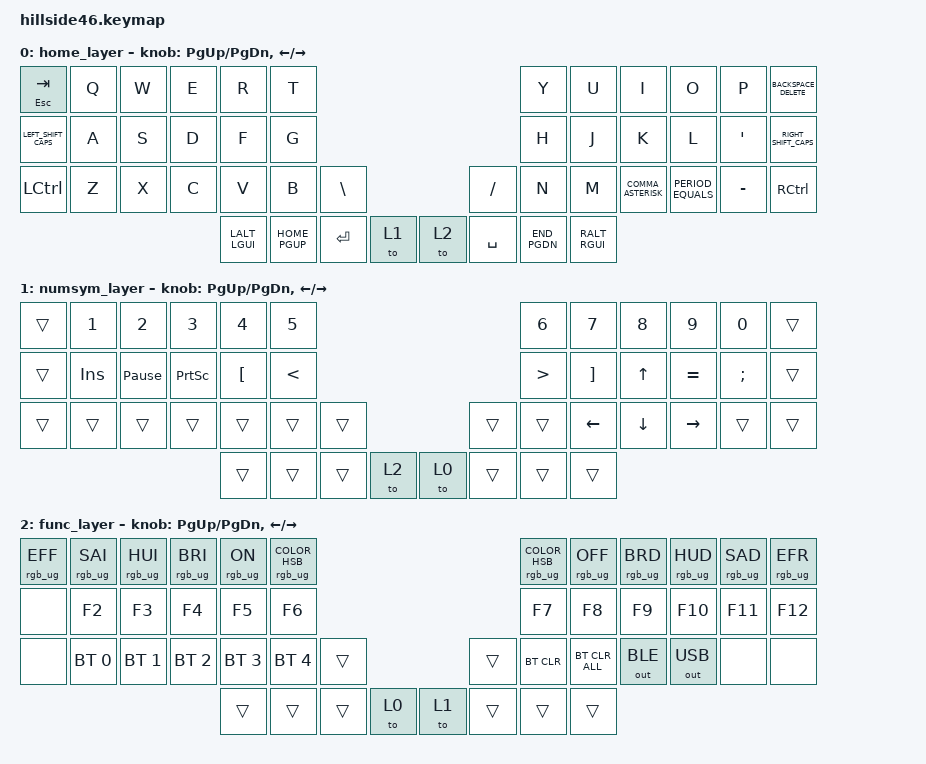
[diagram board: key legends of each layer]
/*
 * Copyright (c) 2021-2022 The ZMK Contributors
 *
 * SPDX-License-Identifier: MIT
 */

#include <behaviors.dtsi>
#include <dt-bindings/zmk/bt.h>
#include <dt-bindings/zmk/keys.h>
#include <dt-bindings/zmk/outputs.h>
#include <dt-bindings/zmk/rgb.h>
#include "keys_de.h"

#define QWERTZ_L 0
#define NAV_L    1
#define SYM_L    2
#define ADJ_L    3
#define UML_L    4
#define COLEMK_L 5
#define UMLQ_L   6
#define Undo   LC(Z)
#define Cut    LC(X)
#define Copy   LC(C)
#define Paste  LC(V)
#define Redo   LC(Y)

/ {
    conditional_layers { compatible = "zmk,conditional-layers"; };

    behaviors {
        LALT_LGUI: LALT_LGUI {
            compatible = "zmk,behavior-tap-dance";
            label = "LALT_LGUI";
            #binding-cells = <0>;
            bindings = <&kp LEFT_ALT>, <&kp LEFT_GUI>;
        };

        RALT_RGUI: RALT_RGUI {
            compatible = "zmk,behavior-tap-dance";
            label = "RALT_RGUI";
            #binding-cells = <0>;
            bindings = <&kp RIGHT_ALT>, <&kp RIGHT_GUI>;
        };

        LEFT_SHIFT_CAPS: LEFT_SHIFT_CAPS {
            compatible = "zmk,behavior-tap-dance";
            label = "LEFT_SHIFT_CAPS";
            #binding-cells = <0>;
            bindings = <&kp LEFT_SHIFT>, <&kp CAPSLOCK>;
        };

        RIGHT_SHIFT_CAPS: RIGHT_SHIFT_CAPS {
            compatible = "zmk,behavior-tap-dance";
            label = "RIGHT_SHIFT_CAPS";
            #binding-cells = <0>;
            bindings = <&kp RIGHT_SHIFT>, <&kp CAPSLOCK>;
        };

        BACKSPACE_DELETE: BACKSPACE_DELETE {
            compatible = "zmk,behavior-mod-morph";
            label = "BACKSPACE_DELETE";
            bindings = <&kp BACKSPACE>, <&kp DELETE>;

            #binding-cells = <0>;
            mods = <(MOD_LSFT|MOD_RSFT)>;
        };

        COMMA_ASTERISK: COMMA_ASTERISK {
            compatible = "zmk,behavior-mod-morph";
            label = "COMMA_ASTERISK";
            bindings = <&kp COMMA>, <&kp ASTERISK>;

            #binding-cells = <0>;
            mods = <(MOD_LSFT|MOD_RSFT)>;
        };

        PERIOD_EQUALS: PERIOD_EQUALS {
            compatible = "zmk,behavior-mod-morph";
            label = "PERIOD_EQUALS";
            bindings = <&kp PERIOD>, <&kp EQUAL>;

            #binding-cells = <0>;
            mods = <(MOD_LSFT|MOD_RSFT)>;
        };

        ZERO_TILDE: ZERO_TILDE {
            compatible = "zmk,behavior-mod-morph";
            label = "ZERO_TILDE";
            bindings = <&kp KP_NUMBER_0>, <&kp TILDE>;

            #binding-cells = <0>;
            mods = <(MOD_LSFT|MOD_RSFT)>;
        };

        HOME_PGUP: HOME_PGUP {
            compatible = "zmk,behavior-tap-dance";
            label = "HOME_PGUP";
            #binding-cells = <0>;
            bindings = <&kp HOME>, <&kp PAGE_UP>;
        };

        END_PGDN: END_PGDN {
            compatible = "zmk,behavior-tap-dance";
            label = "END_PGDN";
            #binding-cells = <0>;
            bindings = <&kp END>, <&kp PAGE_DOWN>;
        };
    };

    keymap {
        compatible = "zmk,keymap";

        home_layer {
            /* QWERTZ
 * -------------------------------------------------------------------------------------------------------------------------------------
 * | `     |   Q   |   W   |   E   |   R   |   T   |-----------------------------------|   Z   |   U   |   I   |   O   |   P   | BKSPC |
 * | TAB   |   A   |   S   |   D   |   F   |   G   |-----------------------------------|   H   |   J   |   K   |   L   |   ;   | ENTER |
 * | CTRL  |   Y   |   X   |   C   |   V   |   B   |  ESC  |-------------------|  Uml  |   N   |   M   |   ,   |   .   |   /   |   '   |
 *                                 |  GUI  |  CTRL | ENTER |  Sym  |---|  Nav  | SPACE | SHIFT | BKSPC |
 */

            bindings = <
&mt ESCAPE TAB    &kp Q  &kp W  &kp E  &kp R       &kp T                                                 &kp Y      &kp U       &kp I            &kp O           &kp P           &BACKSPACE_DELETE
&LEFT_SHIFT_CAPS  &kp A  &kp S  &kp D  &kp F       &kp G                                                 &kp H      &kp J       &kp K            &kp L           &kp APOSTROPHE  &RIGHT_SHIFT_CAPS
&kp LCTRL         &kp Z  &kp X  &kp C  &kp V       &kp B       &kp BACKSLASH                  &kp SLASH  &kp N      &kp M       &COMMA_ASTERISK  &PERIOD_EQUALS  &kp MINUS       &kp RCTRL
                                       &LALT_LGUI  &HOME_PGUP  &kp RETURN     &to 1    &to 2  &kp SPACE  &END_PGDN  &RALT_RGUI
            >;

            sensor-bindings =
                <&inc_dec_kp PAGE_UP PAGE_DOWN>,
                <&inc_dec_kp LEFT_ARROW RIGHT_ARROW>;
        };

        numsym_layer {
            /* SYM
 * -------------------------------------------------------------------------------------------------------------------------------------
 * |       |   !   |   @   |   #   |   $   |   %   |-----------------------------------|   ^   |   &   |   *   |   (   |   )   |       |
 * |       |   1   |   2   |   3   |   4   |   5   |-----------------------------------|   6   |   7   |   8   |   9   |   0   |       |
 * |       |   ?   |   -   |   +   |   [   |   {   |       |-------------------|       |   }   |   ]   |       |       |       |   =   |
 *                                 |       |       |       |  ADJ_L |---|      |       |       |       |
 */

            bindings = <
&trans  &kp NUMBER_1  &kp NUMBER_2     &kp NUMBER_3     &kp NUMBER_4      &kp NUMBER_5                                   &kp NUMBER_6      &kp NUMBER_7       &kp NUMBER_8    &kp NUMBER_9     &kp NUMBER_0   &trans
&trans  &kp INSERT    &kp PAUSE_BREAK  &kp PRINTSCREEN  &kp LEFT_BRACKET  &kp LESS_THAN                                  &kp GREATER_THAN  &kp RIGHT_BRACKET  &kp UP_ARROW    &kp EQUAL        &kp SEMICOLON  &trans
&trans  &trans        &trans           &trans           &trans            &trans         &trans                  &trans  &trans            &kp LEFT_ARROW     &kp DOWN_ARROW  &kp RIGHT_ARROW  &trans         &trans
                                                        &trans            &trans         &trans  &to 2    &to 0  &trans  &trans            &trans
            >;

            sensor-bindings =
                <&inc_dec_kp PAGE_UP PAGE_DOWN>,
                <&inc_dec_kp LEFT_ARROW RIGHT_ARROW>;
        };

        func_layer {
            /* ADJUST
 * -------------------------------------------------------------------------------------------------------------------------------------
 * | RESET |  F9   |  F10  |  F11  |  F12  |       |-----------------------------------| CMK   | QWERTZ|       |       |       | RESET |
 * |       |  F5   |  F6   |  F7   |  F8   |       |-----------------------------------| BT 0  |  BT 1 | BT 2  |       |       |       |
 * |       |  F1   |  F2   |  F3   |  F4   |       |BT CLR |-------------------| CAPS  |OUT_BLE|OUT_USB|       |       |       | BOOTL |
 *                                 |       |       |       |       |---|       |       |       |       |
 */

            bindings = <
&rgb_ug RGB_EFF  &rgb_ug RGB_SAI  &rgb_ug RGB_HUI  &rgb_ug RGB_BRI  &rgb_ug RGB_ON  &rgb_ug RGB_COLOR_HSB(47,100,50)                                  &rgb_ug RGB_COLOR_HSB(91,100,31)  &rgb_ug RGB_OFF  &rgb_ug RGB_BRD  &rgb_ug RGB_HUD  &rgb_ug RGB_SAD  &rgb_ug RGB_EFR
&none            &kp F2           &kp F3           &kp F4           &kp F5          &kp F6                                                            &kp F7                            &kp F8           &kp F9           &kp F10          &kp F11          &kp F12
&none            &bt BT_SEL 0     &bt BT_SEL 1     &bt BT_SEL 2     &bt BT_SEL 3    &bt BT_SEL 4                      &trans                  &trans  &bt BT_CLR                        &bt BT_CLR_ALL   &out OUT_BLE     &out OUT_USB     &none            &none
                                                                    &trans          &trans                            &trans  &to 0    &to 1  &trans  &trans                            &trans
            >;

            sensor-bindings =
                <&inc_dec_kp PAGE_UP PAGE_DOWN>,
                <&inc_dec_kp LEFT_ARROW RIGHT_ARROW>;
        };
    };
};
